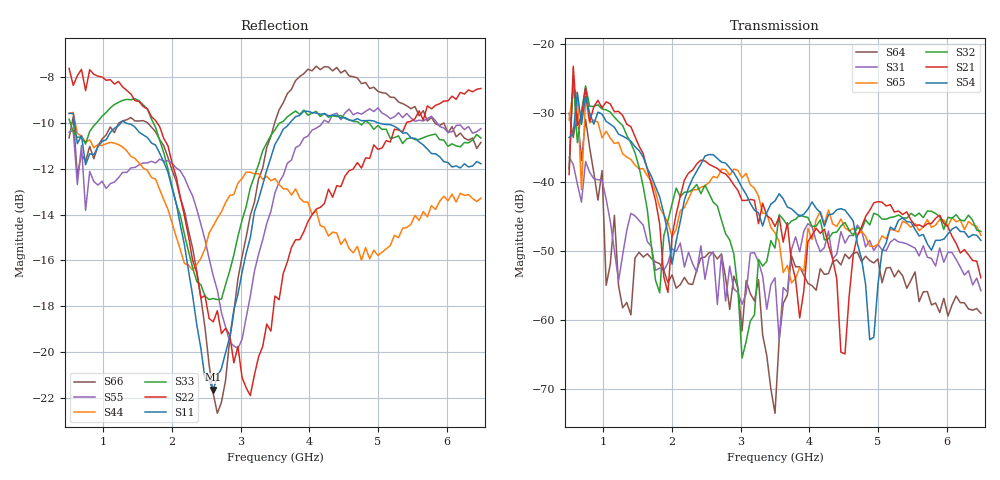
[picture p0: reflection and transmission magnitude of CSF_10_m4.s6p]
!Keysight Technologies,M9804A,MY58100912,A.14.10.03
!Date: Thursday, April 27, 2023 10:28:33
!Correction: S11(C  6-Port  )
!S12(C  6-Port  )
!S13(C  6-Port  )
!S14(C  6-Port  )
!S15(C  6-Port  )
!S16(C  6-Port  )
!S21(C  6-Port  )
!S22(C  6-Port  )
!S23(C  6-Port  )
!S24(C  6-Port  )
!S25(C  6-Port  )
!S26(C  6-Port  )
!S31(C  6-Port  )
!S32(C  6-Port  )
!S33(C  6-Port  )
!S34(C  6-Port  )
!S35(C  6-Port  )
!S36(C  6-Port  )
!S41(C  6-Port  )
!S42(C  6-Port  )
!S43(C  6-Port  )
!S44(C  6-Port  )
!S45(C  6-Port  )
!S46(C  6-Port  )
!S51(C  6-Port  )
!S52(C  6-Port  )
!S53(C  6-Port  )
!S54(C  6-Port  )
!S55(C  6-Port  )
!S56(C  6-Port  )
!S61(C  6-Port  )
!S62(C  6-Port  )
!S63(C  6-Port  )
!S64(C  6-Port  )
!S65(C  6-Port  )
!S66(C  6-Port  )
!S6P File: Measurement: :
# Hz S  RI  R 50
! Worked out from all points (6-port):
!   101 points, 500 MHz to 6.5 GHz, reference 50 ohm
!   strongest paths, dB at 500 MHz, 2 GHz, 3.5 GHz, 5 GHz, 6.5 GHz:
!     S54: -33.5, -51.9, -42.7, -54.9, -48.4
!     S21: -38.9, -47.8, -46.4, -42.8, -53.9
!     S32: -38.0, -43.1, -49.6, -44.7, -47.1
!     S65: -31.0, -47.9, -47.3, -49.0, -47.7
!     S31: -36.4, -49.6, -53.9, -49.0, -55.7
!     S64: -30.0, -53.4, -73.5, -51.1, -59.0
!   lowest |S11| = -21.7 dB at 2.6 GHz (marker M1), VSWR 1.18, Z = 42.6 + j2.05 ohm
!   |S11| at or under -10 dB: 578.8 MHz to 1.253 GHz (674.6 MHz wide, 73.6 % of centre); 1.332 GHz to 3.715 GHz (2.383 GHz wide, 94.5 % of centre); 5.014 GHz to end of sweep
